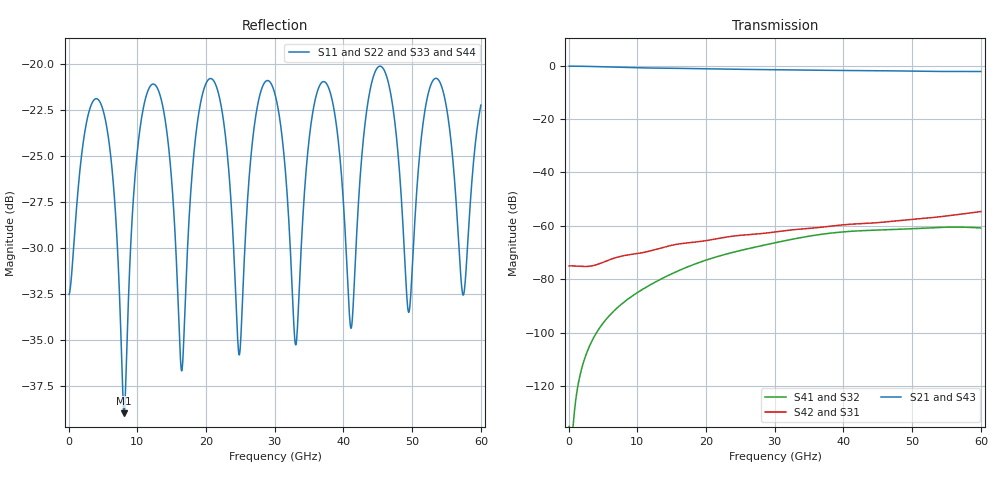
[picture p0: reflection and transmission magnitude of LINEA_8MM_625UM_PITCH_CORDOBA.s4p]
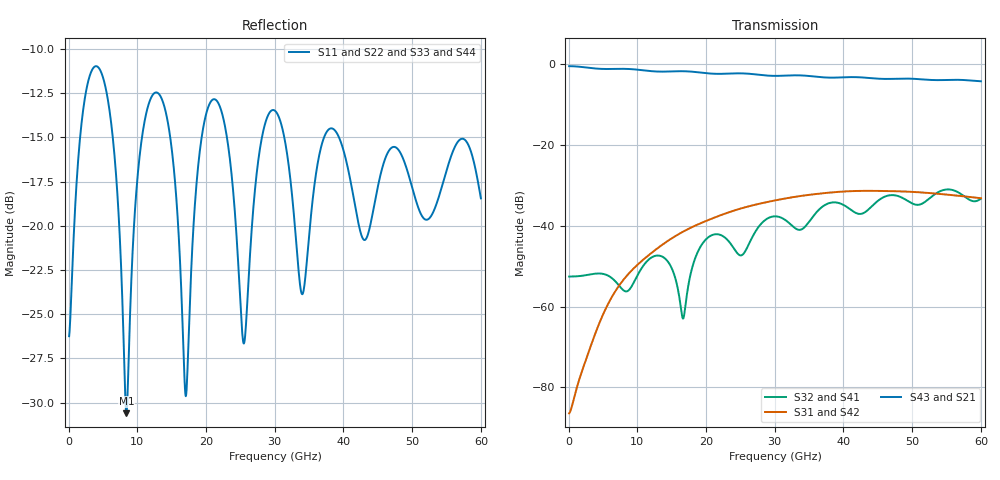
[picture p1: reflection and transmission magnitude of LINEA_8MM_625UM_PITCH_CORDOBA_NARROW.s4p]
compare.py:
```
"""
CORDOBA (signal 35 um, grounds 49.85 um) vs CORDOBA high impedance (signal 10 um, grounds 25 um), 8 mm.
1) Model-free S-parameters: S11, S21, NEXT = S31, FEXT = S41, symmetry floors (NEXT: |S31 - S42|,
   FEXT: |S41 - S32|), group delays (S21, S31, S41) and n_g = c tau / L from the S21 delay.
2) EO crosstalk B/A from the CST gap fields at the 12 monitor frequencies (exact for the TD model):
   50 ohm source and load (= the port impedance: no re-termination), push-pull, optical n_g 2.27.
"""
import os, sys
sys.path.insert(0, os.path.abspath(os.path.join(os.path.dirname(__file__), "../../../..")))
import numpy as np, skrf
from mzm_interconnect import parameters as P, xtalk_s4p as X, xtalk_fields as XF
HERE = os.path.dirname(os.path.abspath(__file__))
RUNS = {"CORDOBA": os.path.join(HERE, "../cordoba_8mm"), "CORDOBA HZ": HERE}
S4P = {"CORDOBA": "LINEA_8MM_625UM_PITCH_CORDOBA.s4p", "CORDOBA HZ": "LINEA_8MM_625UM_PITCH_CORDOBA_NARROW.s4p"}
d = lambda x: 20 * np.log10(np.abs(x) + 1e-30)
C0 = 2.99792458e8; L = 8e-3
nets = {k: skrf.Network(os.path.join(RUNS[k], S4P[k])) for k in RUNS}
f = nets["CORDOBA"].f; assert np.allclose(f, nets["CORDOBA HZ"].f)
w = 2 * np.pi * f
gd = lambda x: -np.gradient(np.unwrap(np.angle(x)), w)
print("S-parameters (dB)      |        CORDOBA (35 / 49.85 um)            |      CORDOBA HZ (10 / 25 um)")
print(" f GHz | S11   S21    NEXT   FEXT  floorN floorF | S11   S21    NEXT   FEXT  floorN floorF")
for g in (1, 2, 5, 10, 15, 20, 25, 30, 35, 40, 45, 50, 55, 60):
    i = np.argmin(abs(f - g * 1e9)); row = f"{g:5d}  |"
    for k in RUNS:
        s = nets[k].s[i]
        row += f" {d(s[0,0]):5.1f} {d(s[1,0]):6.2f} {d(s[2,0]):6.1f} {d(s[3,0]):6.1f} {d(s[2,0]-s[3,1]):6.1f} {d(s[3,0]-s[2,1]):6.1f} |"
    print(row)
for k, n in nets.items():
    s = n.s; sel = (f >= 5e9) & (f <= 50e9)
    t21, tN, tF = (np.median(gd(s[:, a, 0])[sel]) * 1e12 for a in (1, 2, 3))
    print(f"{k:11s}: delay 5-50 GHz S21 {t21:.1f} ps (n_g {t21*1e-12*C0/L:.3f}), NEXT {tN:.1f} ps ({tN/t21:.2f}x), "
          f"FEXT {tF:.1f} ps ({tF/t21:.2f}x); A/B asym {np.max(abs(s[:,:2,:2]-s[:,2:,2:])):.1e}, end asym {np.max(abs(s[:,0,0]-s[:,1,1])):.1e}")
    for b in ((2, 20), (20, 40), (40, 60)):
        m = (f >= b[0] * 1e9) & (f <= b[1] * 1e9)
        rms = lambda x: d(np.sqrt(np.mean(abs(x) ** 2)))
        print(f"   {b[0]:2d}-{b[1]:2d} GHz rms: S11 {rms(s[m,0,0]):6.1f}  NEXT {rms(s[m,2,0]):6.1f}  FEXT {rms(s[m,3,0]):6.1f}")
p = P.defaults(); p["Rt_R"] = 50.0; p["Zs_R"] = 50.0
print(f"\nEO crosstalk B/A from the gap fields (dB): Zs {p['Zs_R']} ohm, Zt {p['Rt_R']} ohm, {p['drive_config']}, n_g {p['ng']}")
res = {}
for k in RUNS:
    pair = X.load_pair(os.path.join(RUNS[k], S4P[k]), 8.0)
    fd = XF.load_field_dir(RUNS[k])
    res[k] = XF.eo_crosstalk_fields(p, fd, pair)
print(" f GHz | CORDOBA | CORDOBA HZ | HZ - CORDOBA")
for i, g in enumerate(res["CORDOBA"]["f_GHz"]):
    a, b = d(res["CORDOBA"]["X"][i]), d(res["CORDOBA HZ"]["X"][i])
    print(f" {g:5.0f} | {a:7.1f} | {b:10.1f} | {b-a:+6.1f}")
```
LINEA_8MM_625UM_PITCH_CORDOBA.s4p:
! TOUCHSTONE file generated by CST MICROWAVE STUDIO
! Date and time: Wed Oct 28 09:14:27 2026
! Project name: LINEA_8MM_625UM_PITCH_CORDOBA.cst
! Parameters = {CHANNEL_PITCH=0.625; GAP=0.00415; L=8; L1=0.02; L2=0.086; L3=0.066; NCELL=1; PITCH=0.18; START_POSITION=0.13; W1=0.003; W2=0.004; W3=0.009; WG=0.04985; gap_oxr=0.00125; linbo3_thickness=0.0002; mtx=0.002; oxiDinE=0.0014; w=0.185; ws=0.035}
! Header version: 2024
! Port assignment regex: !\s*Touchstone port\s*([0-9]+)\s*=\s*(CST MWS port|CST DES external port|CST DES block port)\s*(.+)\s* \(\"(.*)\"\)(\s*mode\s*([0-9]+))?.*
! Touchstone port assignment:
! Touchstone port 1 = CST MWS port 1 ("")
! Touchstone port 2 = CST MWS port 2 ("")
! Touchstone port 3 = CST MWS port 3 ("")
! Touchstone port 4 = CST MWS port 4 ("")
# GHz S MA R 50
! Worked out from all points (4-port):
!   1000 points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, 60 MHz to 60 GHz, reference 50 ohm
!   strongest paths, dB at 60 MHz, 15.06 GHz, 30.06 GHz, 45.06 GHz, 60 GHz:
!     S21: -0.3, -1.0, -1.5, -1.9, -2.2
!     S43: -0.3, -1.0, -1.5, -1.9, -2.2
!     S42: -75.0, -67.3, -62.3, -58.8, -54.7
!     S31: -75.0, -67.3, -62.3, -58.8, -54.7
!     S41: -135.2, -77.9, -66.4, -61.6, -60.8
!     S32: -135.3, -77.9, -66.4, -61.6, -60.8
!   lowest |S11| = -39.0 dB at 8.04 GHz (marker M1), VSWR 1.02, Z = 48.9 - j0.272 ohm
!   |S11| at or under -10 dB: start of sweep to end of sweep
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0.06  0.02363 -5.6  0.9716 -1.3  0.0001772 -2.9  1.729e-07 173.7
      0.9716 -1.3  0.02363 -5.6  1.727e-07 173.7  0.0001773 -2.9
      0.0001772 -2.9  1.719e-07 173.7  0.02363 -5.6  0.9716 -1.3
      1.741e-07 173.7  0.0001773 -2.9  0.9716 -1.3  0.02363 -5.6
8.04  0.01123 -165.7  0.9195 -176.0  0.0002753 -36.9  3.704e-05 178.9
      0.9195 -176.0  0.0112 -165.6  3.703e-05 178.9  0.0002753 -36.9
      0.0002753 -36.9  3.704e-05 178.9  0.01123 -165.7  0.9195 -176.0
      3.703e-05 178.9  0.0002753 -36.9  0.9195 -176.0  0.0112 -165.6
60  0.07722 -125.7  0.7723 153.1  0.001843 144.6  0.0009075 63.1
    0.7723 153.1  0.07724 -125.9  0.0009075 63.1  0.001843 144.7
    0.001843 144.6  0.0009075 63.1  0.07723 -125.7  0.7723 153.1
    0.0009075 63.1  0.001843 144.7  0.7723 153.1  0.07723 -125.9
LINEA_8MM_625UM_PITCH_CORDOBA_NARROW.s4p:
! TOUCHSTONE file generated by CST MICROWAVE STUDIO
! Date and time: Thu Oct 29 13:48:41 2026
! Project name: LINEA_8MM_625UM_PITCH_CORDOBA_NARROW.cst
! Parameters = {CHANNEL_PITCH=0.625; GAP=0.00415; L=8; L1=0.02; L2=0.086; L3=0.066; NCELL=1; PITCH=0.18; START_POSITION=0.13; W1=0.003; W2=0.004; W3=0.009; WG=0.025; gap_oxr=0.00125; linbo3_thickness=0.0002; mtx=0.002; oxiDinE=0.0014; w=0.185; ws=0.01}
! Header version: 2024
! Port assignment regex: !\s*Touchstone port\s*([0-9]+)\s*=\s*(CST MWS port|CST DES external port|CST DES block port)\s*(.+)\s* \(\"(.*)\"\)(\s*mode\s*([0-9]+))?.*
! Touchstone port assignment:
! Touchstone port 1 = CST MWS port 1 ("")
! Touchstone port 2 = CST MWS port 2 ("")
! Touchstone port 3 = CST MWS port 3 ("")
! Touchstone port 4 = CST MWS port 4 ("")
# GHz S MA R 50
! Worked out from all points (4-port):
!   1000 points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, 60 MHz to 60 GHz, reference 50 ohm
!   strongest paths, dB at 60 MHz, 15.06 GHz, 30.06 GHz, 45.06 GHz, 60 GHz:
!     S43: -0.4, -1.7, -2.8, -3.5, -4.2
!     S21: -0.4, -1.7, -2.8, -3.5, -4.2
!     S31: -86.5, -43.0, -33.7, -31.3, -33.2
!     S42: -86.5, -43.0, -33.7, -31.3, -33.1
!     S32: -52.6, -50.8, -37.6, -33.7, -33.3
!     S41: -52.6, -50.8, -37.6, -33.7, -33.3
!   lowest |S11| = -30.6 dB at 8.4 GHz (marker M1), VSWR 1.06, Z = 53 - j0.525 ohm
!   |S11| at or under -10 dB: start of sweep to end of sweep
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0.06  0.04872 6.6  0.9523 -1.4  4.735e-05 1.5  0.002352 176.1
      0.9523 -1.4  0.04872 6.6  0.002352 176.1  4.744e-05 1.5
      4.748e-05 1.5  0.002352 176.1  0.04872 6.6  0.9523 -1.4
      0.002352 176.1  4.756e-05 1.5  0.9523 -1.4  0.04872 6.6
8.4  0.02949 -9.7  0.8812 -179.1  0.002375 -14.8  0.001539 -8.7
     0.8812 -179.1  0.02952 -9.7  0.001539 -8.7  0.002375 -14.8
     0.002375 -14.8  0.001539 -8.7  0.02949 -9.7  0.8812 -179.1
     0.001539 -8.7  0.002375 -14.8  0.8812 -179.1  0.02952 -9.7
60  0.1195 -32.6  0.6189 -164.9  0.02198 170.1  0.02171 111.3
    0.6189 -164.9  0.1194 -32.6  0.02171 111.3  0.022 170.2
    0.02199 170.1  0.0217 111.3  0.1195 -32.6  0.6189 -164.9
    0.0217 111.3  0.02201 170.2  0.6189 -164.9  0.1194 -32.6
